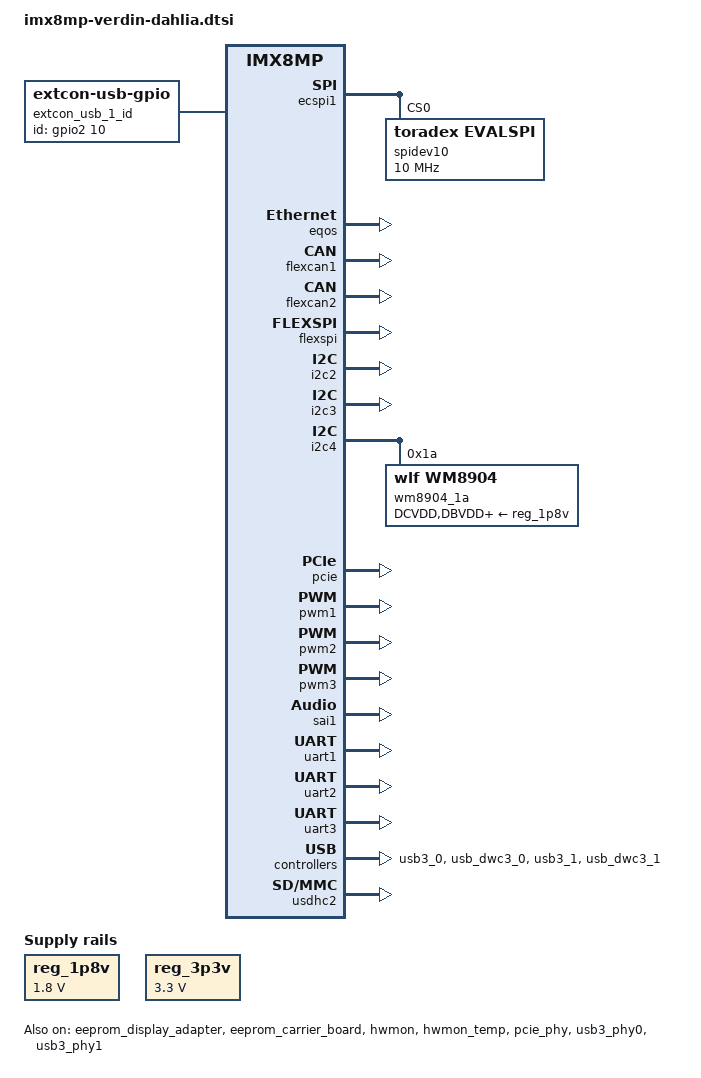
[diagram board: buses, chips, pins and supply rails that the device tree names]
// SPDX-License-Identifier: GPL-2.0+ OR MIT
/*
 * Copyright 2020 Toradex
 */

/ {
	extcon_usb_1_id: usb_1_id {
		compatible = "linux,extcon-usb-gpio";
		id-gpio = <&gpio2 10 GPIO_ACTIVE_HIGH>;
		pinctrl-names = "default";
		pinctrl-0 = <&pinctrl_usb_1_id>;
	};

	/* Carrier Board Supply +V1.8 */
	reg_1p8v: regulator-1p8v {
		compatible = "regulator-fixed";
		regulator-max-microvolt = <1800000>;
		regulator-min-microvolt = <1800000>;
		regulator-name = "+V1.8_SW";
	};

	/* Carrier Board Supply +V3.3 */
	reg_3p3v: regulator-3p3v {
		compatible = "regulator-fixed";
		regulator-max-microvolt = <3300000>;
		regulator-min-microvolt = <3300000>;
		regulator-name = "+V3.3_SW";
	};

	sound_card: sound-card {
		compatible = "simple-audio-card";
		simple-audio-card,bitclock-master = <&dailink_master>;
		simple-audio-card,format = "i2s";
		simple-audio-card,frame-master = <&dailink_master>;
		simple-audio-card,name = "imx8mp-wm8904";
		simple-audio-card,routing =
			"Headphone Jack", "HPOUTL",
			"Headphone Jack", "HPOUTR",
			"IN2L", "Line In Jack",
			"IN2R", "Line In Jack",
			"Headphone Jack", "MICBIAS",
			"IN1L", "Headphone Jack";
		simple-audio-card,widgets =
			"Microphone", "Headphone Jack",
			"Headphone", "Headphone Jack",
			"Line", "Line In Jack";

		dailink_master: simple-audio-card,codec {
			sound-dai = <&wm8904_1a>;
			clocks = <&audiomix_clk IMX8MP_CLK_AUDIOMIX_SAI1_MCLK1>;
		};

		simple-audio-card,cpu {
			sound-dai = <&sai1>;
		};
	};

	sound_hdmi: sound-hdmi {
		compatible = "fsl,imx-audio-cdnhdmi";
		model = "audio-hdmi";
		audio-cpu = <&aud2htx>;
		hdmi-out;
		constraint-rate = <44100>,
				<88200>,
				<176400>,
				<32000>,
				<48000>,
				<96000>,
				<192000>;
		status = "disabled";
	};
};

&backlight {
	power-supply = <&reg_3p3v>;
};

/* Verdin SPI_1 */
&ecspi1 {
	status = "okay";

	spidev10: spidev@0 {
		compatible = "toradex,evalspi";
		reg = <0>;
		spi-max-frequency = <10000000>;
		status = "okay";
	};
};

/* EEPROM on display adapter boards */
&eeprom_display_adapter {
	status = "okay";
};

/* EEPROM on Verdin Development board */
&eeprom_carrier_board {
	status = "okay";
};

&eqos {
	status = "okay";
};

&flexcan1 {
	status = "okay";
};

&flexcan2 {
	status = "okay";
};

/* Verdin QSPI_1 */
&flexspi {
	status = "okay";
};

/* Current measurement into module VCC */
&hwmon {
	status = "okay";
};

&hwmon_temp {
	status = "okay";
};

/* Verdin I2C_2_DSI */
&i2c2 {
	status = "okay";
};

&i2c3 {
	status = "okay";
};

&i2c4 {
	status = "okay";

	/* Audio Codec */
	wm8904_1a: codec@1a {
		compatible = "wlf,wm8904";
		#sound-dai-cells = <0>;
		clocks = <&audiomix_clk IMX8MP_CLK_AUDIOMIX_SAI1_MCLK1>;
		clock-names = "mclk";
		reg = <0x1a>;
		DCVDD-supply = <&reg_1p8v>;
		DBVDD-supply = <&reg_1p8v>;
		AVDD-supply = <&reg_1p8v>;
		CPVDD-supply = <&reg_1p8v>;
		MICVDD-supply = <&reg_1p8v>;
	};
};

/* Verdin PCIE_1 */
&pcie {
	epdev_on-supply = <&reg_3p3v>;
	status = "okay";
};

&pcie_phy{
	status = "okay";
};

/* Verdin PWM_1 */
&pwm1 {
	status = "okay";
};

/* Verdin PWM_2 */
&pwm2 {
	status = "okay";
};

/* Verdin PWM_3_DSI */
&pwm3 {
	status = "okay";
};

&reg_usdhc2_vmmc {
	vin-supply = <&reg_3p3v>;
};

/* VERDIN I2S_1 */
&sai1 {
	status = "okay";
};

/* Verdin UART_1 */
&uart1 {
	status = "okay";
};

/* Verdin UART_2 */
&uart2 {
	status = "okay";
};

/* Verdin UART_3, used as the Linux Console */
&uart3 {
	status = "okay";
};

/* Verdin USB_1 */
&usb3_phy0 {
	status = "okay";
};

&usb3_0 {
	status = "okay";
};

&usb_dwc3_0 {
	status = "okay";
};

/* Verdin USB_2 */
&usb3_phy1 {
	status = "okay";
};

&usb_dwc3_0 {
	extcon = <&extcon_usb_1_id>;
};

&usb3_1 {
	status = "okay";
};

&usb_dwc3_1 {
	disable-over-current;
	status = "okay";
};

/* Verdin SD_1 */
&usdhc2 {
	status = "okay";
};
